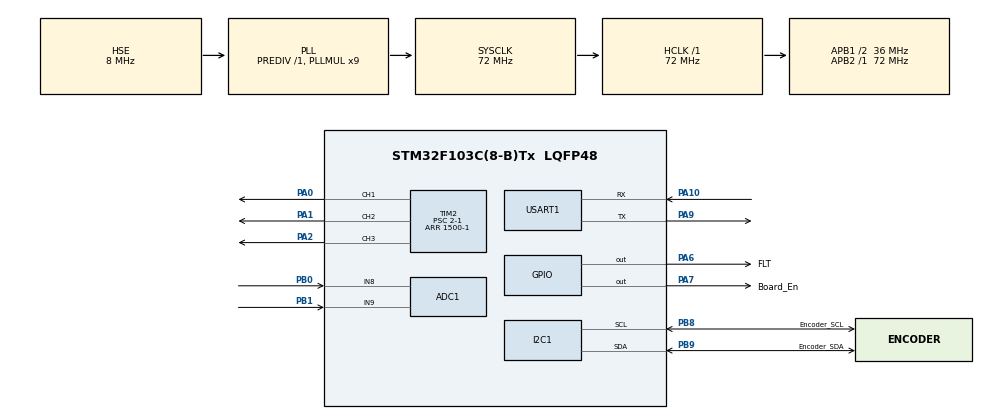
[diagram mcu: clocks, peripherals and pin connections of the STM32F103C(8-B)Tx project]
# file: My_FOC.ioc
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ADC1.Channel-2\#ChannelRegularConversion=ADC_CHANNEL_8
ADC1.Channel-3\#ChannelRegularConversion=ADC_CHANNEL_9
ADC1.ContinuousConvMode=DISABLE
ADC1.DiscontinuousConvMode=DISABLE
ADC1.NbrOfConversion=2
ADC1.NbrOfConversionFlag=1
ADC1.Rank-2\#ChannelRegularConversion=1
ADC1.Rank-3\#ChannelRegularConversion=2
ADC1.SamplingTime-2\#ChannelRegularConversion=ADC_SAMPLETIME_13CYCLES_5
ADC1.SamplingTime-3\#ChannelRegularConversion=ADC_SAMPLETIME_13CYCLES_5
ADC1.master=1
Dma.ADC1.0.Direction=DMA_PERIPH_TO_MEMORY
Dma.ADC1.0.Instance=DMA1_Channel1
Dma.ADC1.0.MemDataAlignment=DMA_MDATAALIGN_HALFWORD
Dma.ADC1.0.MemInc=DMA_MINC_ENABLE
Dma.ADC1.0.Mode=DMA_CIRCULAR
Dma.ADC1.0.PeriphDataAlignment=DMA_PDATAALIGN_HALFWORD
Dma.ADC1.0.PeriphInc=DMA_PINC_DISABLE
Dma.ADC1.0.Priority=DMA_PRIORITY_LOW
Dma.Request0=ADC1
I2C1.I2C_Mode=I2C_Fast
Mcu.Family=STM32F1
Mcu.Name=STM32F103C(8-B)Tx
Mcu.Package=LQFP48
NVIC.DMA1_Channel1_IRQn=true\:0\:0\:false\:false\:true\:false\:true\:true
NVIC.PriorityGroup=NVIC_PRIORITYGROUP_4
NVIC.TIM3_IRQn=true\:0\:0\:false\:false\:true\:true\:true\:true
NVIC.USART1_IRQn=true\:0\:0\:false\:false\:true\:true\:true\:true
PA0-WKUP.Signal=S_TIM2_CH1_ETR
PA1.Signal=S_TIM2_CH2
PA10.Mode=Asynchronous
PA10.Signal=USART1_RX
PA13.Mode=Serial_Wire
PA13.Signal=SYS_JTMS-SWDIO
PA14.Mode=Serial_Wire
PA14.Signal=SYS_JTCK-SWCLK
PA2.Signal=S_TIM2_CH3
PA6.GPIO_Label=FLT
PA6.GPIO_PuPd=GPIO_PULLUP
PA6.Signal=GPIO_Output
PA7.GPIO_Label=Board_En
PA7.GPIO_PuPd=GPIO_PULLDOWN
PA7.Signal=GPIO_Output
PA9.Mode=Asynchronous
PA9.Signal=USART1_TX
PB0.Signal=ADCx_IN8
PB1.Signal=ADCx_IN9
PB8.GPIO_Label=Encoder_SCL
PB8.Mode=I2C
PB8.Signal=I2C1_SCL
PB9.GPIO_Label=Encoder_SDA
PB9.Mode=I2C
PB9.Signal=I2C1_SDA
PD0-OSC_IN.Mode=HSE-External-Oscillator
PD0-OSC_IN.Signal=RCC_OSC_IN
PD1-OSC_OUT.Mode=HSE-External-Oscillator
PD1-OSC_OUT.Signal=RCC_OSC_OUT
ProjectManager.HeapSize=0x200
ProjectManager.StackSize=0x400
ProjectManager.TargetToolchain=Makefile
RCC.ADCPresc=RCC_ADCPCLK2_DIV6
RCC.AHBFreq_Value=72000000
RCC.APB1CLKDivider=RCC_HCLK_DIV2
RCC.APB1Freq_Value=36000000
RCC.APB1TimFreq_Value=72000000
RCC.APB2Freq_Value=72000000
RCC.APB2TimFreq_Value=72000000
RCC.HCLKFreq_Value=72000000
RCC.PLLMUL=RCC_PLL_MUL9
RCC.PLLSourceVirtual=RCC_PLLSOURCE_HSE
RCC.SYSCLKFreq_VALUE=72000000
RCC.SYSCLKSource=RCC_SYSCLKSOURCE_PLLCLK
RCC.USBFreq_Value=72000000
SH.ADCx_IN8.0=ADC1_IN8,IN8
SH.ADCx_IN9.0=ADC1_IN9,IN9
SH.S_TIM2_CH1_ETR.0=TIM2_CH1,PWM Generation1 CH1
SH.S_TIM2_CH2.0=TIM2_CH2,PWM Generation2 CH2
SH.S_TIM2_CH3.0=TIM2_CH3,PWM Generation3 CH3
TIM2.Channel-PWM\ Generation1\ CH1=TIM_CHANNEL_1
TIM2.Channel-PWM\ Generation2\ CH2=TIM_CHANNEL_2
TIM2.Channel-PWM\ Generation3\ CH3=TIM_CHANNEL_3
TIM2.CounterMode=TIM_COUNTERMODE_CENTERALIGNED2
TIM2.OC2Preload_PWM=ENABLE
TIM2.OCMode_PWM-PWM\ Generation1\ CH1=TIM_OCMODE_PWM1
TIM2.OCMode_PWM-PWM\ Generation2\ CH2=TIM_OCMODE_PWM1
TIM2.OCMode_PWM-PWM\ Generation3\ CH3=TIM_OCMODE_PWM1
TIM2.Period=1500-1
TIM2.Prescaler=2-1
TIM3.Period=2000-1
TIM3.Prescaler=72-1
USART1.VirtualMode=VM_ASYNC
VP_TIM3_VS_ClockSourceINT.Mode=Internal
board=custom

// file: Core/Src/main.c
/* USER CODE BEGIN Header */
/**
  ******************************************************************************
  * @file           : main.c
  * @brief          : Main program body
  ******************************************************************************
  * @attention
  *
  * Copyright (c) 2024 STMicroelectronics.
  * All rights reserved.
  *
  * This software is licensed under terms that can be found in the LICENSE file
  * in the root directory of this software component.
  * If no LICENSE file comes with this software, it is provided AS-IS.
  *
  ******************************************************************************
  */
/* USER CODE END Header */
#include "main.h"
#include "adc.h"
#include "dma.h"
#include "i2c.h"
#include "tim.h"
#include "usart.h"
#include "gpio.h"

/* USER CODE BEGIN Includes */

#include "test.h"
#include "AS5600.h"
#include "PMSM_FOC.h"
#include "Master_PC.h"

/* USER CODE END Includes */

/* USER CODE BEGIN PTD */

float Get_PMSM_Angle;    /* 电机转过的实际角度�?�读�??????????????????? */

// uint16_t MyADC_Value[2];

uint16_t pdBuffer[3];
float test_C = 3.5f;

/* USER CODE END PTD */

/* USER CODE BEGIN PM */

// uint16_t MyADC_Value[2];

/* USER CODE END PM */

void SystemClock_Config(void);

int main(void)
{

  /* MCU Configuration--------------------------------------------------------*/

  /* Reset of all peripherals, Initializes the Flash interface and the Systick. */

  HAL_Init();

  /* Configure the system clock */
  SystemClock_Config();

  /* Initialize all configured peripherals */
  MX_GPIO_Init();
  MX_DMA_Init();
  MX_TIM2_Init();
  MX_I2C1_Init();
  MX_USART1_UART_Init();
  MX_TIM3_Init();
  MX_ADC1_Init();
  /* USER CODE BEGIN 2 */

  // HAL_GPIO_WritePin(GPIOA,GPIO_PIN_7,SET);    /* 使能驱动�?????????????????? */
  // HAL_GPIO_WritePin(GPIOA,GPIO_PIN_6,RESET);   /* FLT功能关闭 */

  HAL_TIM_PWM_Start(&htim2,TIM_CHANNEL_1);    /* 三路中心对称PWM波使�?????????????????? */
  HAL_TIM_PWM_Start(&htim2,TIM_CHANNEL_2);
  HAL_TIM_PWM_Start(&htim2,TIM_CHANNEL_3);

  HAL_ADCEx_Calibration_Start(&hadc1);		/* ADC校准 */

  Check_DriftOffsets();   /* 电压偏置�?�? */

  Set_ZeroAngle();    /* 零电角度定位 */
  HAL_Delay(1000);

  FOC_SVPWM(0.0f,0.0f);

  HAL_UART_Receive_IT(&huart1,(uint8_t *)&Rx_Byte,1);   //中断接收�?个字符，存储到Rx_Byte�?

  HAL_TIM_Base_Start_IT(&htim3);

  /* USER CODE END 2 */

  /* Infinite loop */
  /* USER CODE BEGIN WHILE */
  while (1)
  {

      /* 调参接收部分 */
			if(Get_On_or_off_Rxflag()==1)			/* 判断接受是否成功 */
			{
					Car_on_off=Get_On_or_off[0];
			}

      /* PID调参部分 */
			if(Get_vofa_PID_Rxflag()==1)		/* 判断接收是否成功 */
			{
					PID_index_1=Get_id_Flag_1();
					PID_index_2=Get_id_Flag_2();

					PID_Mode[PID_index_1-1].PID[PID_index_2]=RxPacket_Data_Handle();
			}

      /* 速度环pi */
      // Speed_pid.Kp = PID_Mode[0].PID[0];
      // Speed_pid.Ki = PID_Mode[0].PID[1];

      Speed_pid.Kp = 0.08f;
      Speed_pid.Ki = 0.1f;    /* 0.1 */

    /* 打印调试部分 */
    // printf("%f,%f,%f,%f,%f,%f,%f,%f,%f\n",Current_abc.Ia,Current_abc.Ib,Current_abc.Ic,Current_AB.I_Alpha,Current_AB.I_Beta,Current_DQ.I_q,Current_DQ.I_d,test_C,test_theta);
    printf("%f\n",test_speed);

    /* USER CODE END WHILE */

  }
}

void SystemClock_Config(void)
{
  RCC_OscInitTypeDef RCC_OscInitStruct = {0};
  RCC_ClkInitTypeDef RCC_ClkInitStruct = {0};
  RCC_PeriphCLKInitTypeDef PeriphClkInit = {0};

  /** Initializes the RCC Oscillators according to the specified parameters
  * in the RCC_OscInitTypeDef structure.
  */
  RCC_OscInitStruct.OscillatorType = RCC_OSCILLATORTYPE_HSE;
  RCC_OscInitStruct.HSEState = RCC_HSE_ON;
  RCC_OscInitStruct.HSEPredivValue = RCC_HSE_PREDIV_DIV1;
  RCC_OscInitStruct.HSIState = RCC_HSI_ON;
  RCC_OscInitStruct.PLL.PLLState = RCC_PLL_ON;
  RCC_OscInitStruct.PLL.PLLSource = RCC_PLLSOURCE_HSE;
  RCC_OscInitStruct.PLL.PLLMUL = RCC_PLL_MUL9;
  if (HAL_RCC_OscConfig(&RCC_OscInitStruct) != HAL_OK)
  {
    Error_Handler();
  }

  /** Initializes the CPU, AHB and APB buses clocks
  */
  RCC_ClkInitStruct.ClockType = RCC_CLOCKTYPE_HCLK|RCC_CLOCKTYPE_SYSCLK
                              |RCC_CLOCKTYPE_PCLK1|RCC_CLOCKTYPE_PCLK2;
  RCC_ClkInitStruct.SYSCLKSource = RCC_SYSCLKSOURCE_PLLCLK;
  RCC_ClkInitStruct.AHBCLKDivider = RCC_SYSCLK_DIV1;
  RCC_ClkInitStruct.APB1CLKDivider = RCC_HCLK_DIV2;
  RCC_ClkInitStruct.APB2CLKDivider = RCC_HCLK_DIV1;

  if (HAL_RCC_ClockConfig(&RCC_ClkInitStruct, FLASH_LATENCY_2) != HAL_OK)
  {
    Error_Handler();
  }
  PeriphClkInit.PeriphClockSelection = RCC_PERIPHCLK_ADC;
  PeriphClkInit.AdcClockSelection = RCC_ADCPCLK2_DIV6;
  if (HAL_RCCEx_PeriphCLKConfig(&PeriphClkInit) != HAL_OK)
  {
    Error_Handler();
  }
}

void Error_Handler(void)
{
  __disable_irq();
  while (1)
  {
  }
}
